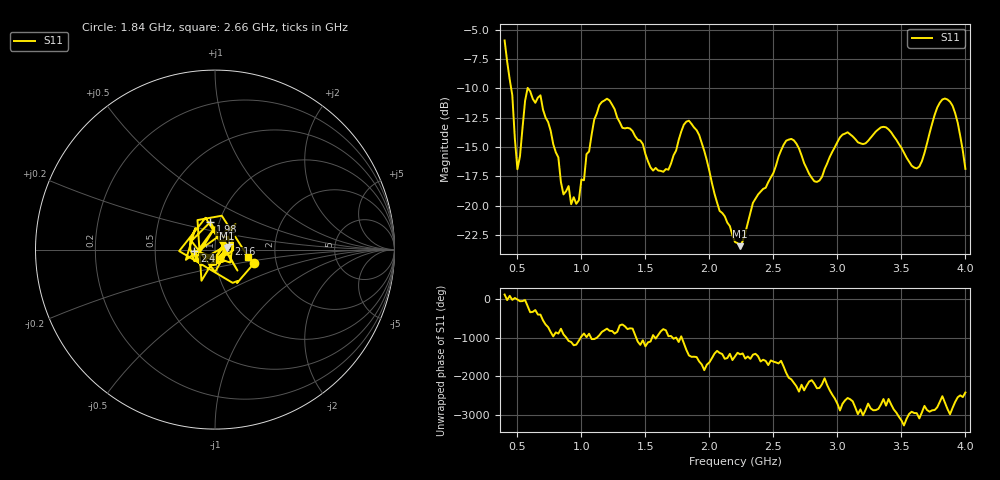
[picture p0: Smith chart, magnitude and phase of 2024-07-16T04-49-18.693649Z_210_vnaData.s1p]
!Created with skrf (http://scikit-rf.org).
# Hz S RI R 50.0
!freq ReS11 ImS11
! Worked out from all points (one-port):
!   181 points, 400 MHz to 4 GHz, reference 50 ohm
!   lowest |S11| = -23.5 dB at 2.24 GHz (marker M1), VSWR 1.14, Z = 57.1 + j1.07 ohm
!   |S11| at or under -10 dB: 451.3 MHz to 579.3 MHz (128 MHz wide, 24.8 % of centre); 582.7 MHz to end of sweep
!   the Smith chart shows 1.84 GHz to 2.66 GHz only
!   S11 on the Smith chart (normalised r, x): 1.84 GHz: 1.53, -0.25; 1.98 GHz: 0.91, +0.29; 2.16 GHz: 1.16, +0.07; 2.4 GHz: 0.79, -0.01; 2.66 GHz: 1.45, -0.12
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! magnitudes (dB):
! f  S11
! 400 MHz  -5.9
! 460 MHz  -10.6
! 500 MHz  -16.9
! 580 MHz  -10.0
! 680 MHz  -10.6
! 820 MHz  -15.9
! 860 MHz  -19.0
! 980 MHz  -19.5
! 1.14 GHz  -11.4
! 1.3 GHz  -12.9
! 1.56 GHz  -17.0
! 1.68 GHz  -16.9
! 1.76 GHz  -14.4
! 1.84 GHz  -12.8
! 1.98 GHz  -16.1
! 2.16 GHz  -21.7
! 2.2 GHz  -23.1
! 2.24 GHz  -23.5
! 2.4 GHz  -18.8
! 2.66 GHz  -14.4
! 2.84 GHz  -18.0
! 3.1 GHz  -13.9
! 3.38 GHz  -13.3
! 3.56 GHz  -16.2
! 3.64 GHz  -16.7
! 3.84 GHz  -10.9
! 3.92 GHz  -12.1
! 4 GHz  -16.9
